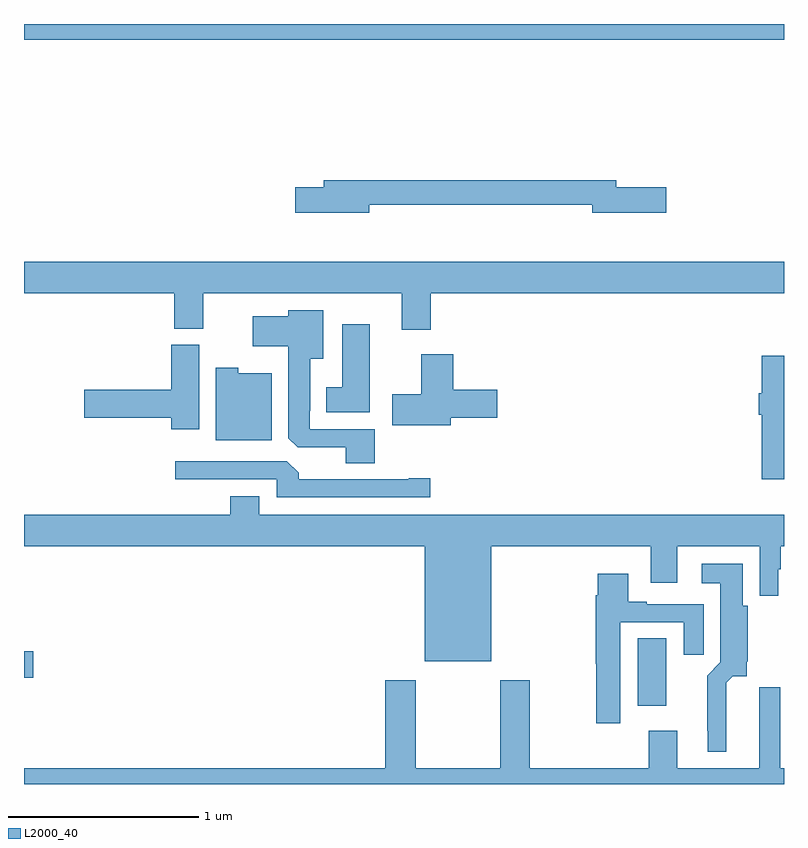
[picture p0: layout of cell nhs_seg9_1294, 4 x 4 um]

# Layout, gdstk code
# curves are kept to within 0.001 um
import gdstk
lib = gdstk.Library(unit=1e-6, precision=1e-09)
def R(c, l, rs):  # rectangles x0, y0, x1, y1
    for r in rs: c.add(gdstk.rectangle(r[:2], r[2:], *l))
def P(c, l, *ps):  # polygons
    for p in ps: c.add(gdstk.Polygon(p, *l))
L2000_40 = (2000, 40)

nhs_seg9_1294 = lib.new_cell('nhs_seg9_1294')
R(nhs_seg9_1294, L2000_40, [(186.23,1196.913,186.379,1197.266), (183,1197.058,183.049,1197.2), (183,1200.416,187,1200.5)])
P(nhs_seg9_1294, L2000_40, [(184.816,1199.55),(185.99,1199.55),(185.99,1199.507),(186.379,1199.507),(186.379,1199.642),(186.118,1199.642),(186.118,1199.678),(184.577,1199.678),(184.577,1199.642),(184.428,1199.642),(184.428,1199.507),(184.816,1199.507)],
  [(185.141,1199.084),(187,1199.084),(187,1199.248),(183,1199.248),(183,1199.084),(183.791,1199.084),(183.791,1198.897),(183.943,1198.897),(183.943,1199.084),(184.988,1199.084),(184.988,1198.89),(185.141,1198.89)],
  [(184.847,1198.368),(184.503,1198.368),(184.503,1198.465),(184.507,1198.465),(184.507,1198.739),(184.576,1198.739),(184.576,1198.993),(184.391,1198.993),(184.391,1198.963),(184.203,1198.963),(184.203,1198.805),(184.391,1198.805),(184.391,1198.321),(184.44,1198.272),(184.694,1198.272),(184.694,1198.189),(184.847,1198.189)],
  [(184.819,1198.921),(184.676,1198.921),(184.676,1198.588),(184.592,1198.588),(184.592,1198.457),(184.819,1198.457)],
  [(183.922,1198.812),(183.776,1198.812),(183.776,1198.574),(183.318,1198.574),(183.318,1198.427),(183.776,1198.427),(183.776,1198.368),(183.922,1198.368)],
  [(185.245,1198.427),(185.491,1198.427),(185.491,1198.574),(185.258,1198.574),(185.258,1198.762),(185.09,1198.762),(185.09,1198.551),(184.938,1198.551),(184.938,1198.388),(185.245,1198.388)],
  [(187,1198.753),(186.884,1198.753),(186.884,1198.557),(186.866,1198.557),(186.866,1198.443),(186.884,1198.443),(186.884,1198.104),(187,1198.104)],
  [(184.303,1198.663),(184.128,1198.663),(184.128,1198.69),(184.01,1198.69),(184.01,1198.31),(184.303,1198.31)],
  [(185.137,1198.109),(185.024,1198.109),(185.024,1198.104),(184.445,1198.104),(184.445,1198.138),(184.383,1198.2),(183.795,1198.2),(183.795,1198.104),(184.329,1198.104),(184.329,1198.008),(185.137,1198.008)],
  [(185.458,1197.752),(186.299,1197.752),(186.299,1197.558),(186.439,1197.558),(186.439,1197.752),(186.873,1197.752),(186.873,1197.492),(186.97,1197.492),(186.97,1197.63),(186.982,1197.63),(186.982,1197.752),(187,1197.752),(187,1197.916),(184.237,1197.916),(184.237,1198.015),(184.085,1198.015),(184.085,1197.916),(183,1197.916),(183,1197.752),(185.108,1197.752),(185.108,1197.146),(185.458,1197.146)],
  [(186.697,1197.032),(186.73,1197.066),(186.804,1197.066),(186.804,1197.141),(186.81,1197.147),(186.809,1197.438),(186.784,1197.438),(186.784,1197.658),(186.567,1197.658),(186.567,1197.557),(186.665,1197.557),(186.665,1197.14),(186.595,1197.07),(186.595,1196.779),(186.599,1196.779),(186.599,1196.669),(186.697,1196.669)],
  [(186.139,1197.351),(186.473,1197.351),(186.473,1197.18),(186.577,1197.18),(186.577,1197.447),(186.277,1197.447),(186.277,1197.46),(186.181,1197.46),(186.181,1197.607),(186.02,1197.607),(186.02,1197.494),(186.008,1197.494),(186.008,1197.132),(186.013,1197.132),(186.013,1196.82),(186.139,1196.82)],
  [(187,1196.584),(186.979,1196.584),(186.979,1197.01),(186.869,1197.01),(186.869,1196.584),(186.439,1196.584),(186.439,1196.779),(186.287,1196.779),(186.287,1196.584),(185.661,1196.584),(185.661,1197.046),(185.506,1197.046),(185.506,1196.584),(185.061,1196.584),(185.061,1197.046),(184.901,1197.046),(184.901,1196.584),(183,1196.584),(183,1196.5),(187,1196.5)])

lib.write_gds('nhs_seg9_1294.gds')
